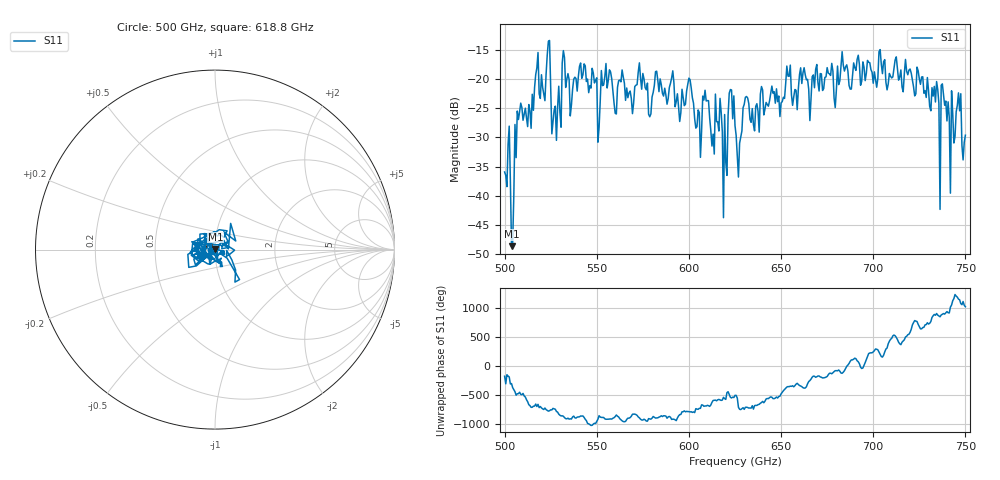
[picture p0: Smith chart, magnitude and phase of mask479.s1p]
!Created with skrf (http://scikit-rf.org).
# GHz S MA R 50.0
!freq magS11 angS11
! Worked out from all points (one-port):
!   401 points, 500 GHz to 750 GHz, reference 50 ohm
!   lowest |S11| = -48.7 dB at 503.8 GHz (marker M1), VSWR 1.01, Z = 50.2 + j0.317 ohm
!   |S11| at or under -10 dB: start of sweep to end of sweep
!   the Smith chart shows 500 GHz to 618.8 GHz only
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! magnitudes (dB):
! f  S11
! 500 GHz  -35.9
! 503.8 GHz  -48.7
! 508.1 GHz  -25.6
! 523.8 GHz  -13.5
! 526.9 GHz  -25.3
! 531.2 GHz  -17.2
! 548.8 GHz  -20.6
! 550.6 GHz  -30.8
! 562.5 GHz  -20.1
! 593.8 GHz  -22.5
! 600 GHz  -19.8
! 605.6 GHz  -25.7
! 609.4 GHz  -23.7
! 612.5 GHz  -31.5
! 616.9 GHz  -23.3
! 619.4 GHz  -26.1
! 623.1 GHz  -21.8
! 625 GHz  -28.0
! 626.9 GHz  -36.8
! 630.6 GHz  -23.1
! 656.2 GHz  -24.5
! 687.5 GHz  -21.7
! 718.8 GHz  -19.2
! 735 GHz  -21.8
! 738.1 GHz  -22.5
! 743.1 GHz  -25.9
! 746.2 GHz  -22.3
! 750 GHz  -29.6
